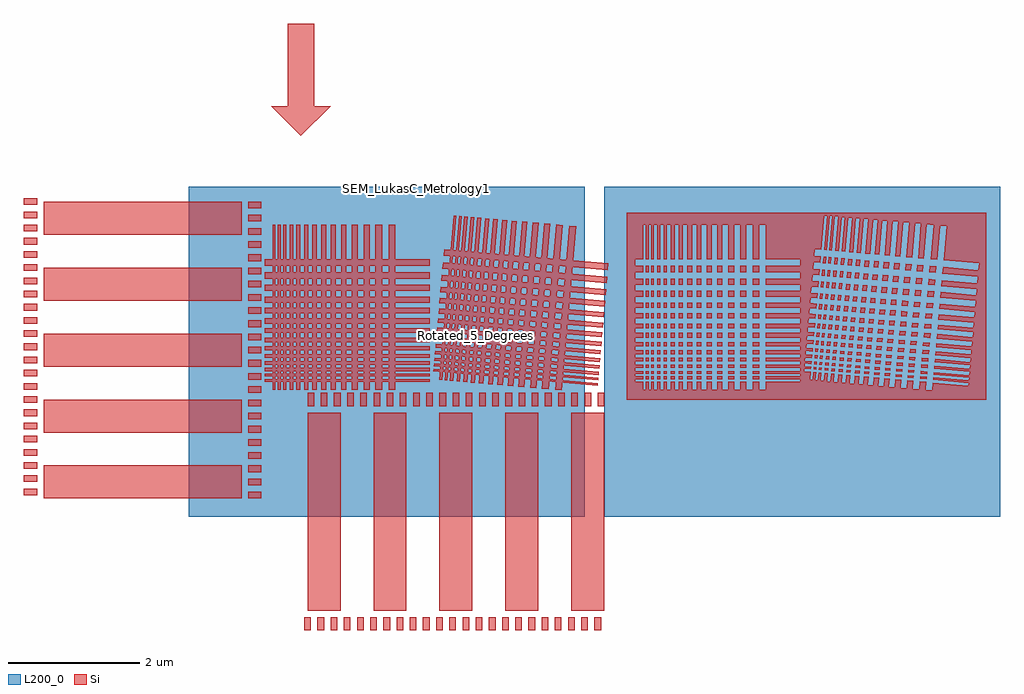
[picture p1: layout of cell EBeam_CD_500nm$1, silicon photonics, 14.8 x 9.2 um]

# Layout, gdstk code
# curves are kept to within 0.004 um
from math import pi, radians
import gdstk
lib = gdstk.Library(unit=1e-6, precision=1e-09)
def R(c, l, rs):  # rectangles x0, y0, x1, y1
    for r in rs: c.add(gdstk.rectangle(r[:2], r[2:], *l))
def P(c, l, *ps):  # polygons
    for p in ps: c.add(gdstk.Polygon(p, *l))
Si = (1, 0)
L200_0 = (200, 0)

ruler_1 = lib.new_cell('ruler$1')
R(ruler_1, Si, [(0,0,0.2,0.1)])

wg_500nm_1 = lib.new_cell('WG_500nm$1')
R(wg_500nm_1, Si, [(0,0,3,0.5)])

cd_500nm_1 = lib.new_cell('CD_500nm$1')
r = gdstk.Reference(ruler_1, (3.4,0)); r.repetition = gdstk.Repetition(1, 23, v1=(0,0), v2=(0,0.2)); cd_500nm_1.add(r)
r = gdstk.Reference(ruler_1, (0,0.05)); r.repetition = gdstk.Repetition(1, 23, v1=(0,0), v2=(0,0.2)); cd_500nm_1.add(r)
r = gdstk.Reference(wg_500nm_1, (0.3,0)); r.repetition = gdstk.Repetition(1, 5, v1=(0,0), v2=(0,1)); cd_500nm_1.add(r)

lines_50nm_80nm_1 = lib.new_cell('lines_50nm_80nm$1')
R(lines_50nm_80nm_1, Si, [(0,0,0.04,2.5), (0.08,0,0.12,2.5), (0.16,0,0.21,2.5), (0.26,0,0.31,2.5), (0.36,0,0.42,2.5), (0.48,0,0.54,2.5), (0.6,0,0.67,2.5), (0.74,0,0.81,2.5), (0.88,0,0.96,2.5), (1.04,0,1.12,2.5), (1.2,0,1.29,2.5), (1.38,0,1.47,2.5), (1.56,0,1.66,2.5), (1.76,0,1.86,2.5)])

arrow_1 = lib.new_cell('arrow$1')
P(arrow_1, Si, [(-0.4,-0.5),(-0.85,-0.05),(-0.4,0.4),(-0.4,0.15),(0.85,0.15),(0.85,-0.25),(-0.4,-0.25)])

ebeam_cd_500nm_1 = lib.new_cell('EBeam_CD_500nm$1')
R(ebeam_cd_500nm_1, Si, [(9.13,1.81,9.17,1.85), (9.21,1.81,9.25,1.85), (9.3,1.81,9.35,1.85), (9.4,1.81,9.45,1.85), (9.51,1.81,9.57,1.85), (9.63,1.81,9.69,1.85), (9.76,1.81,9.83,1.85), (9.9,1.81,9.97,1.85), (10.05,1.81,10.13,1.85), (10.21,1.81,10.29,1.85), (10.38,1.81,10.47,1.85), (10.56,1.81,10.65,1.85), (10.75,1.81,10.85,1.85), (9.13,1.89,9.17,1.93), (9.21,1.89,9.25,1.93), (9.3,1.89,9.35,1.93), (9.4,1.89,9.45,1.93), (9.51,1.89,9.57,1.93), (9.63,1.89,9.69,1.93), (9.76,1.89,9.83,1.93), (9.9,1.89,9.97,1.93), (10.05,1.89,10.13,1.93), (10.21,1.89,10.29,1.93), (10.38,1.89,10.47,1.93), (10.56,1.89,10.65,1.93), (10.75,1.89,10.85,1.93), (9.13,1.98,9.17,2.03), (9.21,1.98,9.25,2.03), (9.3,1.98,9.35,2.03), (9.4,1.98,9.45,2.03), (9.51,1.98,9.57,2.03), (9.63,1.98,9.69,2.03), (9.76,1.98,9.83,2.03), (9.9,1.98,9.97,2.03), (10.05,1.98,10.13,2.03), (10.21,1.98,10.29,2.03), (10.38,1.98,10.47,2.03), (10.56,1.98,10.65,2.03), (10.75,1.98,10.85,2.03), (9.13,2.08,9.17,2.13), (9.21,2.08,9.25,2.13), (9.3,2.08,9.35,2.13), (9.4,2.08,9.45,2.13), (9.51,2.08,9.57,2.13), (9.63,2.08,9.69,2.13), (9.76,2.08,9.83,2.13), (9.9,2.08,9.97,2.13), (10.05,2.08,10.13,2.13), (10.21,2.08,10.29,2.13), (10.38,2.08,10.47,2.13), (10.56,2.08,10.65,2.13), (10.75,2.08,10.85,2.13), (9.13,2.19,9.17,2.25), (9.21,2.19,9.25,2.25), (9.3,2.19,9.35,2.25), (9.4,2.19,9.45,2.25), (9.51,2.19,9.57,2.25), (9.63,2.19,9.69,2.25), (9.76,2.19,9.83,2.25), (9.9,2.19,9.97,2.25), (10.05,2.19,10.13,2.25), (10.21,2.19,10.29,2.25), (10.38,2.19,10.47,2.25), (10.56,2.19,10.65,2.25), (10.75,2.19,10.85,2.25), (9.13,2.31,9.17,2.37), (9.21,2.31,9.25,2.37), (9.3,2.31,9.35,2.37), (9.4,2.31,9.45,2.37), (9.51,2.31,9.57,2.37), (9.63,2.31,9.69,2.37), (9.76,2.31,9.83,2.37), (9.9,2.31,9.97,2.37), (10.05,2.31,10.13,2.37), (10.21,2.31,10.29,2.37), (10.38,2.31,10.47,2.37), (10.56,2.31,10.65,2.37), (10.75,2.31,10.85,2.37), (9.13,2.44,9.17,2.51), (9.21,2.44,9.25,2.51), (9.3,2.44,9.35,2.51), (9.4,2.44,9.45,2.51), (9.51,2.44,9.57,2.51), (9.63,2.44,9.69,2.51), (9.76,2.44,9.83,2.51), (9.9,2.44,9.97,2.51), (10.05,2.44,10.13,2.51), (10.21,2.44,10.29,2.51), (10.38,2.44,10.47,2.51), (10.56,2.44,10.65,2.51), (10.75,2.44,10.85,2.51), (9.13,2.58,9.17,2.65), (9.21,2.58,9.25,2.65), (9.3,2.58,9.35,2.65), (9.4,2.58,9.45,2.65), (9.51,2.58,9.57,2.65), (9.63,2.58,9.69,2.65), (9.76,2.58,9.83,2.65), (9.9,2.58,9.97,2.65), (10.05,2.58,10.13,2.65), (10.21,2.58,10.29,2.65), (10.38,2.58,10.47,2.65), (10.56,2.58,10.65,2.65), (10.75,2.58,10.85,2.65), (9.13,2.73,9.17,2.81), (9.21,2.73,9.25,2.81), (9.3,2.73,9.35,2.81), (9.4,2.73,9.45,2.81), (9.51,2.73,9.57,2.81), (9.63,2.73,9.69,2.81), (9.76,2.73,9.83,2.81), (9.9,2.73,9.97,2.81), (10.05,2.73,10.13,2.81), (10.21,2.73,10.29,2.81), (10.38,2.73,10.47,2.81), (10.56,2.73,10.65,2.81), (10.75,2.73,10.85,2.81), (9.13,2.89,9.17,2.97), (9.21,2.89,9.25,2.97), (9.3,2.89,9.35,2.97), (9.4,2.89,9.45,2.97), (9.51,2.89,9.57,2.97), (9.63,2.89,9.69,2.97), (9.76,2.89,9.83,2.97), (9.9,2.89,9.97,2.97), (10.05,2.89,10.13,2.97), (10.21,2.89,10.29,2.97), (10.38,2.89,10.47,2.97), (10.56,2.89,10.65,2.97), (10.75,2.89,10.85,2.97), (9.13,3.06,9.17,3.15), (9.21,3.06,9.25,3.15), (9.3,3.06,9.35,3.15), (9.4,3.06,9.45,3.15), (9.51,3.06,9.57,3.15), (9.63,3.06,9.69,3.15), (9.76,3.06,9.83,3.15), (9.9,3.06,9.97,3.15), (10.05,3.06,10.13,3.15), (10.21,3.06,10.29,3.15), (10.38,3.06,10.47,3.15), (10.56,3.06,10.65,3.15), (10.75,3.06,10.85,3.15), (9.13,3.24,9.17,3.33), (9.21,3.24,9.25,3.33), (9.3,3.24,9.35,3.33), (9.4,3.24,9.45,3.33), (9.51,3.24,9.57,3.33), (9.63,3.24,9.69,3.33), (9.76,3.24,9.83,3.33), (9.9,3.24,9.97,3.33), (10.05,3.24,10.13,3.33), (10.21,3.24,10.29,3.33), (10.38,3.24,10.47,3.33), (10.56,3.24,10.65,3.33), (10.75,3.24,10.85,3.33), (9.13,3.43,9.17,3.53), (9.21,3.43,9.25,3.53), (9.3,3.43,9.35,3.53), (9.4,3.43,9.45,3.53), (9.51,3.43,9.57,3.53), (9.63,3.43,9.69,3.53), (9.76,3.43,9.83,3.53), (9.9,3.43,9.97,3.53), (10.05,3.43,10.13,3.53), (10.21,3.43,10.29,3.53), (10.38,3.43,10.47,3.53), (10.56,3.43,10.65,3.53), (10.75,3.43,10.85,3.53)])
P(ebeam_cd_500nm_1, Si, [(13.203,1.992),(13.113,2),(13.117,2.05),(13.207,2.042)],
  [(13.024,2.008),(12.934,2.016),(12.938,2.066),(13.028,2.058)],
  [(13.41,2.075),(13.311,2.083),(13.316,2.133),(13.415,2.125)],
  [(13.221,2.201),(13.131,2.209),(13.136,2.269),(13.226,2.261)],
  [(13.042,2.217),(12.952,2.225),(12.957,2.285),(13.047,2.277)],
  [(13.232,2.321),(13.142,2.329),(13.147,2.389),(13.237,2.381)],
  [(11.917,2.206),(11.866,2.21),(11.871,2.26),(11.921,2.255)],
  [(12.404,2.273),(12.334,2.279),(12.339,2.339),(12.409,2.333)],
  [(12.134,3.542),(12.084,3.546),(12.093,3.645),(12.143,3.641)],
  [(11.973,2.852),(11.923,2.857),(11.93,2.937),(11.98,2.932)],
  [(11.86,2.712),(11.821,2.716),(11.827,2.786),(11.866,2.782)],
  [(11.848,2.572),(11.808,2.576),(11.815,2.646),(11.854,2.642)],
  [(12.48,3.14),(12.41,3.146),(12.418,3.236),(12.488,3.23)],
  [(12.341,3.152),(12.281,3.157),(12.289,3.247),(12.349,3.242)],
  [(12.862,2.233),(12.783,2.239),(12.788,2.299),(12.867,2.293)],
  [(12.873,2.353),(12.794,2.359),(12.799,2.419),(12.878,2.413)],
  [(12.034,3.55),(11.984,3.555),(11.993,3.654),(12.043,3.649)],
  [(12.512,3.509),(12.442,3.515),(12.451,3.614),(12.521,3.608)],
  [(12.923,2.931),(12.844,2.937),(12.851,3.016),(12.93,3.01)],
  [(12.685,2.037),(12.605,2.044),(12.609,2.094),(12.689,2.087)],
  [(12.087,3.004),(12.037,3.008),(12.044,3.087),(12.094,3.083)],
  [(12.62,3.127),(12.55,3.134),(12.558,3.224),(12.628,3.217)],
  [(13.496,3.051),(13.397,3.059),(13.405,3.149),(13.504,3.141)],
  [(13.512,3.23),(13.413,3.238),(13.42,3.328),(13.519,3.32)],
  [(12.725,2.495),(12.645,2.502),(12.651,2.572),(12.731,2.565)],
  [(12.737,2.635),(12.657,2.642),(12.663,2.712),(12.743,2.705)],
  [(12.795,3.292),(12.715,3.299),(12.722,3.389),(12.802,3.382)],
  [(11.948,2.563),(11.898,2.568),(11.904,2.638),(11.954,2.633)],
  [(11.96,2.703),(11.91,2.708),(11.916,2.778),(11.966,2.773)],
  [(12.853,2.124),(12.773,2.13),(12.778,2.18),(12.857,2.174)],
  [(12.135,2.186),(12.076,2.192),(12.08,2.242),(12.14,2.236)],
  [(12.167,2.544),(12.107,2.55),(12.113,2.62),(12.173,2.614)],
  [(12.179,2.684),(12.119,2.69),(12.125,2.76),(12.185,2.754)],
  [(12.206,2.993),(12.146,2.999),(12.153,3.078),(12.213,3.072)],
  [(11.934,3.559),(11.894,3.563),(11.903,3.662),(11.943,3.658)],
  [(11.855,3.566),(11.815,3.57),(11.824,3.669),(11.864,3.665)],
  [(11.987,3.012),(11.937,3.017),(11.944,3.096),(11.994,3.091)],
  [(11.729,2.121),(11.689,2.125),(11.693,2.175),(11.733,2.171)],
  [(12.496,3.319),(12.426,3.325),(12.433,3.415),(12.503,3.409)],
  [(12.636,3.306),(12.566,3.313),(12.573,3.402),(12.643,3.396)],
  [(12.253,3.531),(12.193,3.537),(12.202,3.636),(12.262,3.63)],
  [(12.221,3.162),(12.161,3.168),(12.169,3.258),(12.229,3.252)],
  [(13.528,3.42),(13.429,3.428),(13.438,3.527),(13.537,3.519)],
  [(11.918,3.369),(11.878,3.373),(11.886,3.463),(11.925,3.459)],
  [(8.84,1.5),(8.84,4.15),(10.85,4.15),(10.85,3.63),(10.75,3.63),(10.75,4.15),(10.65,4.15),(10.65,3.63),(10.56,3.63),(10.56,4.15),(10.47,4.15),(10.47,3.63),(10.38,3.63),(10.38,4.15),(10.29,4.15),(10.29,3.63),(10.21,3.63),(10.21,4.15),(10.13,4.15),(10.13,3.63),(10.05,3.63),(10.05,4.15),(9.97,4.15),(9.97,3.63),(9.9,3.63),(9.9,4.15),(9.83,4.15),(9.83,3.63),(9.76,3.63),(9.76,4.15),(9.69,4.15),(9.69,3.63),(9.63,3.63),(9.63,4.15),(9.57,4.15),(9.57,3.63),(9.51,3.63),(9.51,4.15),(9.45,4.15),(9.45,3.63),(9.4,3.63),(9.4,4.15),(9.35,4.15),(9.35,3.63),(9.3,3.63),(9.3,4.15),(9.25,4.15),(9.25,3.63),(9.21,3.63),(9.21,4.15),(9.17,4.15),(9.17,3.63),(9.13,3.63),(9.13,4.15),(9.09,4.15),(9.09,3.63),(8.97,3.63),(8.97,3.53),(9.09,3.53),(9.09,3.43),(8.97,3.43),(8.97,3.33),(9.09,3.33),(9.09,3.24),(8.97,3.24),(8.97,3.15),(9.09,3.15),(9.09,3.06),(8.97,3.06),(8.97,2.97),(9.09,2.97),(9.09,2.89),(8.97,2.89),(8.97,2.81),(9.09,2.81),(9.09,2.73),(8.97,2.73),(8.97,2.65),(9.09,2.65),(9.09,2.58),(8.97,2.58),(8.97,2.51),(9.09,2.51),(9.09,2.44),(8.97,2.44),(8.97,2.37),(9.09,2.37),(9.09,2.31),(8.97,2.31),(8.97,2.25),(9.09,2.25),(9.09,2.19),(8.97,2.19),(8.97,2.13),(9.09,2.13),(9.09,2.08),(8.97,2.08),(8.97,2.03),(9.09,2.03),(9.09,1.98),(8.97,1.98),(8.97,1.93),(9.09,1.93),(9.09,1.89),(8.97,1.89),(8.97,1.85),(9.09,1.85),(9.09,1.81),(8.97,1.81),(8.97,1.77),(9.09,1.77),(9.09,1.65),(9.13,1.65),(9.13,1.77),(9.17,1.77),(9.17,1.65),(9.21,1.65),(9.21,1.77),(9.25,1.77),(9.25,1.65),(9.3,1.65),(9.3,1.77),(9.35,1.77),(9.35,1.65),(9.4,1.65),(9.4,1.77),(9.45,1.77),(9.45,1.65),(9.51,1.65),(9.51,1.77),(9.57,1.77),(9.57,1.65),(9.63,1.65),(9.63,1.77),(9.69,1.77),(9.69,1.65),(9.76,1.65),(9.76,1.77),(9.83,1.77),(9.83,1.65),(9.9,1.65),(9.9,1.77),(9.97,1.77),(9.97,1.65),(10.05,1.65),(10.05,1.77),(10.13,1.77),(10.13,1.65),(10.21,1.65),(10.21,1.77),(10.29,1.77),(10.29,1.65),(10.38,1.65),(10.38,1.77),(10.47,1.77),(10.47,1.65),(10.56,1.65),(10.56,1.77),(10.65,1.77),(10.65,1.65),(10.75,1.65),(10.75,1.77),(10.85,1.77),(10.85,1.65),(10.95,1.65),(10.95,1.77),(11.47,1.77),(11.47,1.81),(10.95,1.81),(10.95,1.85),(11.47,1.85),(11.47,1.89),(10.95,1.89),(10.95,1.93),(11.47,1.93),(11.47,1.98),(10.95,1.98),(10.95,2.03),(11.47,2.03),(11.47,2.08),(10.95,2.08),(10.95,2.13),(11.47,2.13),(11.47,2.19),(10.95,2.19),(10.95,2.25),(11.47,2.25),(11.47,2.31),(10.95,2.31),(10.95,2.37),(11.47,2.37),(11.47,2.44),(10.95,2.44),(10.95,2.51),(11.47,2.51),(11.47,2.58),(10.95,2.58),(10.95,2.65),(11.47,2.65),(11.47,2.73),(10.95,2.73),(10.95,2.81),(11.47,2.81),(11.47,2.89),(10.95,2.89),(10.95,2.97),(11.47,2.97),(11.47,3.06),(10.95,3.06),(10.95,3.15),(11.47,3.15),(11.47,3.24),(10.95,3.24),(10.95,3.33),(11.47,3.33),(11.47,3.43),(10.95,3.43),(10.95,3.53),(11.47,3.53),(11.47,3.63),(10.95,3.63),(10.95,4.15),(8.84,4.15),(8.84,4.29),(11.838,4.29),(11.793,3.772),(11.692,3.781),(11.683,3.681),(11.784,3.672),(11.775,3.573),(11.674,3.582),(11.665,3.482),(11.766,3.473),(11.759,3.383),(11.658,3.392),(11.65,3.303),(11.751,3.294),(11.743,3.204),(11.642,3.213),(11.634,3.123),(11.735,3.114),(11.728,3.035),(11.627,3.044),(11.62,2.964),(11.721,2.955),(11.714,2.875),(11.613,2.884),(11.606,2.805),(11.707,2.796),(11.701,2.726),(11.6,2.735),(11.594,2.665),(11.695,2.656),(11.689,2.586),(11.588,2.595),(11.582,2.526),(11.683,2.517),(11.678,2.457),(11.577,2.466),(11.571,2.406),(11.672,2.397),(11.667,2.337),(11.566,2.346),(11.561,2.287),(11.662,2.278),(11.657,2.228),(11.557,2.237),(11.552,2.187),(11.653,2.178),(11.649,2.128),(11.548,2.137),(11.543,2.087),(11.644,2.078),(11.641,2.038),(11.54,2.047),(11.536,2.008),(11.637,1.999),(11.634,1.959),(11.533,1.968),(11.53,1.928),(11.63,1.919),(11.62,1.8),(11.66,1.797),(11.67,1.916),(11.71,1.912),(11.7,1.793),(11.74,1.79),(11.75,1.909),(11.789,1.905),(11.779,1.786),(11.829,1.782),(11.839,1.901),(11.889,1.897),(11.879,1.777),(11.929,1.773),(11.939,1.892),(11.989,1.888),(11.979,1.769),(12.038,1.763),(12.048,1.883),(12.108,1.877),(12.098,1.758),(12.158,1.753),(12.168,1.872),(12.228,1.867),(12.218,1.748),(12.287,1.742),(12.297,1.861),(12.367,1.855),(12.357,1.736),(12.427,1.729),(12.437,1.849),(12.507,1.842),(12.497,1.723),(12.576,1.716),(12.586,1.836),(12.666,1.829),(12.656,1.709),(12.736,1.702),(12.746,1.821),(12.825,1.815),(12.815,1.695),(12.905,1.688),(12.915,1.807),(13.005,1.799),(12.995,1.68),(13.084,1.672),(13.094,1.791),(13.184,1.783),(13.174,1.664),(13.274,1.655),(13.284,1.774),(13.383,1.766),(13.373,1.647),(13.473,1.638),(13.483,1.757),(14.02,1.71),(14.023,1.75),(13.487,1.797),(13.49,1.837),(14.027,1.79),(14.03,1.83),(13.494,1.877),(13.497,1.916),(14.034,1.869),(14.038,1.919),(13.502,1.966),(13.506,2.016),(14.043,1.969),(14.047,2.019),(13.51,2.066),(13.515,2.116),(14.051,2.069),(14.057,2.128),(13.52,2.175),(13.525,2.235),(14.062,2.188),(14.067,2.248),(13.531,2.295),(13.536,2.355),(14.072,2.308),(14.078,2.377),(13.542,2.424),(13.548,2.494),(14.084,2.447),(14.091,2.517),(13.554,2.564),(13.56,2.634),(14.097,2.587),(14.104,2.666),(13.567,2.713),(13.574,2.793),(14.111,2.746),(14.118,2.826),(13.581,2.873),(13.588,2.952),(14.125,2.905),(14.132,2.995),(13.596,3.042),(13.604,3.132),(14.14,3.085),(14.148,3.174),(13.612,3.221),(13.619,3.311),(14.156,3.264),(14.165,3.364),(13.628,3.411),(13.637,3.51),(14.173,3.463),(14.182,3.563),(13.646,3.61),(13.691,4.128),(13.591,4.137),(13.546,3.619),(13.447,3.627),(13.492,4.146),(13.392,4.155),(13.347,3.636),(13.257,3.644),(13.302,4.162),(13.213,4.17),(13.168,3.652),(13.078,3.66),(13.123,4.178),(13.033,4.186),(12.988,3.668),(12.909,3.674),(12.954,4.193),(12.874,4.2),(12.829,3.681),(12.749,3.688),(12.794,4.207),(12.715,4.214),(12.67,3.695),(12.6,3.702),(12.645,4.22),(12.575,4.226),(12.53,3.708),(12.46,3.714),(12.505,4.232),(12.436,4.238),(12.391,3.72),(12.331,3.725),(12.376,4.243),(12.316,4.249),(12.271,3.73),(12.211,3.736),(12.256,4.254),(12.197,4.259),(12.152,3.741),(12.102,3.745),(12.147,4.263),(12.097,4.268),(12.052,3.75),(12.002,3.754),(12.047,4.272),(11.997,4.277),(11.952,3.758),(11.912,3.762),(11.957,4.28),(11.918,4.284),(11.873,3.765),(11.833,3.769),(11.878,4.287),(8.84,4.29),(8.84,4.33),(14.29,4.33),(14.29,1.5)],
  [(12.192,2.833),(12.132,2.839),(12.139,2.919),(12.199,2.913)],
  [(12.465,2.971),(12.395,2.977),(12.402,3.056),(12.472,3.05)],
  [(13.481,2.882),(13.382,2.89),(13.389,2.969),(13.488,2.961)],
  [(12.938,3.1),(12.859,3.106),(12.867,3.196),(12.946,3.19)],
  [(12.652,3.496),(12.582,3.503),(12.591,3.602),(12.661,3.595)],
  [(13.42,2.184),(13.321,2.192),(13.326,2.252),(13.425,2.244)],
  [(12.118,3.352),(12.068,3.356),(12.075,3.446),(12.125,3.442)],
  [(12.073,2.844),(12.023,2.848),(12.03,2.928),(12.08,2.924)],
  [(11.793,1.945),(11.754,1.949),(11.757,1.989),(11.796,1.985)],
  [(11.8,2.024),(11.761,2.028),(11.764,2.068),(11.803,2.064)],
  [(12.247,2.076),(12.187,2.081),(12.191,2.131),(12.251,2.126)],
  [(12.97,3.469),(12.891,3.475),(12.9,3.574),(12.979,3.568)],
  [(12.394,2.164),(12.324,2.17),(12.329,2.22),(12.399,2.214)],
  [(12.237,3.341),(12.177,3.347),(12.184,3.437),(12.244,3.431)],
  [(12.764,2.944),(12.684,2.951),(12.691,3.03),(12.771,3.023)],
  [(13.329,3.437),(13.239,3.445),(13.248,3.544),(13.338,3.536)],
  [(13.15,3.453),(13.06,3.461),(13.069,3.56),(13.159,3.552)],
  [(12.566,2.509),(12.496,2.516),(12.502,2.586),(12.572,2.579)],
  [(12.578,2.649),(12.508,2.656),(12.514,2.726),(12.584,2.719)],
  [(12.694,2.137),(12.614,2.145),(12.618,2.194),(12.698,2.187)],
  [(12.605,2.958),(12.535,2.965),(12.542,3.044),(12.612,3.037)],
  [(11.794,2.868),(11.754,2.872),(11.761,2.952),(11.801,2.948)],
  [(11.839,3.376),(11.799,3.38),(11.806,3.47),(11.846,3.466)],
  [(12.534,2.151),(12.465,2.158),(12.469,2.208),(12.539,2.201)],
  [(12.779,3.113),(12.699,3.12),(12.707,3.21),(12.787,3.203)],
  [(12.255,2.176),(12.195,2.181),(12.2,2.231),(12.26,2.226)],
  [(12.544,2.26),(12.474,2.267),(12.479,2.327),(12.549,2.32)],
  [(12.555,2.38),(12.485,2.387),(12.49,2.447),(12.56,2.44)],
  [(12.591,2.798),(12.521,2.805),(12.528,2.885),(12.598,2.878)],
  [(11.873,2.861),(11.834,2.865),(11.841,2.945),(11.88,2.941)],
  [(12.811,3.482),(12.731,3.489),(12.74,3.588),(12.82,3.581)],
  [(12.357,3.331),(12.297,3.336),(12.304,3.426),(12.364,3.421)],
  [(11.816,2.214),(11.777,2.218),(11.782,2.268),(11.821,2.264)],
  [(12.312,2.823),(12.252,2.828),(12.259,2.908),(12.319,2.903)],
  [(13.442,2.433),(13.343,2.441),(13.349,2.511),(13.448,2.503)],
  [(13.454,2.573),(13.355,2.581),(13.361,2.651),(13.46,2.643)],
  [(11.9,2.016),(11.85,2.02),(11.853,2.06),(11.903,2.055)],
  [(13.313,3.247),(13.223,3.255),(13.23,3.345),(13.32,3.337)],
  [(13.134,3.263),(13.044,3.271),(13.051,3.361),(13.141,3.353)],
  [(13.467,2.722),(13.368,2.73),(13.375,2.81),(13.474,2.802)],
  [(13.053,2.337),(12.962,2.345),(12.968,2.405),(13.058,2.397)],
  [(12.119,1.997),(12.059,2.002),(12.062,2.042),(12.122,2.036)],
  [(11.808,2.114),(11.769,2.118),(11.773,2.168),(11.812,2.164)],
  [(12.373,3.521),(12.313,3.526),(12.322,3.625),(12.382,3.62)],
  [(13.268,2.739),(13.178,2.747),(13.185,2.827),(13.275,2.819)],
  [(13.089,2.755),(12.999,2.763),(13.006,2.843),(13.096,2.835)],
  [(12.909,2.771),(12.83,2.777),(12.837,2.857),(12.916,2.851)],
  [(11.826,2.323),(11.787,2.327),(11.792,2.387),(11.831,2.383)],
  [(11.993,1.928),(11.943,1.932),(11.946,1.972),(11.996,1.968)],
  [(12,2.007),(11.95,2.011),(11.953,2.051),(12.003,2.047)],
  [(11.737,2.221),(11.697,2.225),(11.702,2.275),(11.742,2.271)],
  [(12.145,2.295),(12.085,2.301),(12.09,2.361),(12.15,2.355)],
  [(12.156,2.415),(12.096,2.421),(12.101,2.481),(12.161,2.475)],
  [(12.018,3.361),(11.968,3.365),(11.975,3.455),(12.025,3.45)],
  [(12.451,2.811),(12.381,2.817),(12.388,2.897),(12.458,2.891)],
  [(12.836,1.934),(12.757,1.941),(12.76,1.98),(12.839,1.974)],
  [(12.829,1.855),(12.75,1.861),(12.753,1.901),(12.832,1.895)],
  [(12.703,2.246),(12.623,2.253),(12.628,2.313),(12.708,2.306)],
  [(12.714,2.366),(12.634,2.373),(12.639,2.433),(12.719,2.426)],
  [(12.884,2.482),(12.805,2.488),(12.811,2.558),(12.89,2.552)],
  [(12.896,2.622),(12.817,2.628),(12.823,2.698),(12.902,2.692)],
  [(11.714,1.952),(11.674,1.956),(11.677,1.996),(11.717,1.992)],
  [(11.721,2.031),(11.681,2.035),(11.684,2.075),(11.724,2.071)],
  [(12.75,2.784),(12.67,2.791),(12.677,2.871),(12.757,2.864)],
  [(12.954,3.279),(12.875,3.285),(12.882,3.375),(12.961,3.369)],
  [(12.048,2.555),(11.998,2.559),(12.004,2.629),(12.054,2.625)],
  [(12.06,2.695),(12.01,2.699),(12.016,2.769),(12.066,2.765)],
  [(11.758,2.45),(11.717,2.454),(11.723,2.514),(11.763,2.51)],
  [(12.844,2.024),(12.765,2.03),(12.769,2.08),(12.848,2.074)],
  [(11.926,2.314),(11.876,2.319),(11.881,2.379),(11.931,2.374)],
  [(13.43,2.304),(13.332,2.312),(13.337,2.372),(13.436,2.364)],
  [(13.243,2.45),(13.153,2.458),(13.159,2.528),(13.249,2.52)],
  [(13.064,2.466),(12.974,2.474),(12.98,2.544),(13.07,2.536)],
  [(13.255,2.59),(13.165,2.598),(13.171,2.668),(13.261,2.66)],
  [(13.076,2.606),(12.986,2.614),(12.992,2.684),(13.082,2.676)],
  [(12.426,2.522),(12.356,2.528),(12.362,2.598),(12.432,2.592)],
  [(12.438,2.662),(12.368,2.668),(12.374,2.738),(12.444,2.732)],
  [(11.887,3.021),(11.848,3.025),(11.854,3.104),(11.894,3.1)],
  [(11.808,3.028),(11.768,3.032),(11.775,3.111),(11.815,3.107)],
  [(13.297,3.068),(13.207,3.076),(13.215,3.166),(13.305,3.158)],
  [(13.118,3.084),(13.028,3.092),(13.036,3.182),(13.126,3.174)],
  [(11.769,2.579),(11.729,2.583),(11.735,2.653),(11.775,2.649)],
  [(11.781,2.719),(11.741,2.723),(11.747,2.793),(11.787,2.789)],
  [(12.102,3.173),(12.052,3.177),(12.06,3.267),(12.11,3.263)],
  [(12.002,3.181),(11.952,3.186),(11.96,3.276),(12.01,3.272)],
  [(12.008,2.097),(11.958,2.101),(11.962,2.151),(12.012,2.147)],
  [(12.265,2.285),(12.205,2.29),(12.21,2.35),(12.27,2.345)],
  [(12.276,2.405),(12.216,2.41),(12.221,2.47),(12.281,2.465)],
  [(12.026,2.306),(11.976,2.31),(11.981,2.37),(12.031,2.366)],
  [(12.037,2.426),(11.987,2.43),(11.992,2.49),(12.042,2.486)],
  [(11.937,2.435),(11.887,2.439),(11.892,2.499),(11.942,2.495)],
  [(11.747,2.33),(11.707,2.334),(11.712,2.394),(11.752,2.39)],
  [(11.837,2.443),(11.797,2.447),(11.802,2.507),(11.842,2.503)],
  [(13.211,2.092),(13.121,2.1),(13.126,2.15),(13.216,2.142)],
  [(13.032,2.108),(12.942,2.116),(12.947,2.166),(13.037,2.158)],
  [(12.414,2.393),(12.345,2.399),(12.35,2.459),(12.42,2.453)],
  [(11.908,2.106),(11.858,2.11),(11.862,2.16),(11.912,2.155)],
  [(12.326,2.983),(12.266,2.988),(12.273,3.067),(12.333,3.062)],
  [(12.67,1.868),(12.59,1.875),(12.593,1.915),(12.673,1.908)],
  [(12.518,1.962),(12.448,1.968),(12.451,2.008),(12.521,2.001)],
  [(11.893,1.936),(11.843,1.941),(11.846,1.981),(11.896,1.976)],
  [(12.232,1.907),(12.172,1.912),(12.175,1.952),(12.235,1.947)],
  [(12.239,1.986),(12.179,1.991),(12.182,2.031),(12.242,2.026)],
  [(11.902,3.19),(11.862,3.194),(11.87,3.284),(11.91,3.28)],
  [(11.823,3.197),(11.783,3.201),(11.791,3.291),(11.831,3.287)],
  [(12.127,2.086),(12.067,2.092),(12.071,2.142),(12.131,2.136)],
  [(12.371,1.895),(12.301,1.901),(12.304,1.941),(12.374,1.935)],
  [(12.378,1.974),(12.308,1.98),(12.311,2.02),(12.381,2.014)],
  [(12.511,1.882),(12.441,1.889),(12.444,1.928),(12.514,1.922)],
  [(12.287,2.534),(12.227,2.539),(12.233,2.609),(12.293,2.604)],
  [(12.299,2.674),(12.239,2.679),(12.245,2.749),(12.305,2.744)],
  [(12.386,2.064),(12.316,2.07),(12.32,2.12),(12.39,2.114)],
  [(12.677,1.948),(12.597,1.955),(12.6,1.994),(12.68,1.987)],
  [(12.526,2.051),(12.456,2.058),(12.46,2.108),(12.53,2.101)],
  [(12.016,2.197),(11.966,2.201),(11.971,2.251),(12.021,2.247)],
  [(12.112,1.917),(12.052,1.923),(12.055,1.963),(12.115,1.957)],
  [(13.195,1.903),(13.105,1.911),(13.108,1.95),(13.198,1.942)],
  [(13.394,1.885),(13.295,1.894),(13.298,1.933),(13.397,1.925)],
  [(13.282,2.899),(13.192,2.907),(13.199,2.986),(13.289,2.978)],
  [(13.103,2.915),(13.013,2.923),(13.02,3.002),(13.11,2.994)],
  [(13.188,1.823),(13.098,1.831),(13.101,1.871),(13.191,1.863)],
  [(13.009,1.839),(12.919,1.847),(12.922,1.887),(13.012,1.879)],
  [(13.016,1.918),(12.926,1.926),(12.929,1.966),(13.019,1.958)],
  [(13.387,1.806),(13.288,1.814),(13.291,1.854),(13.39,1.846)],
  [(13.402,1.975),(13.303,1.983),(13.307,2.033),(13.406,2.025)])
R(ebeam_cd_500nm_1, L200_0, [(2.2,-0.275,8.2,4.725), (8.5,-0.275,14.5,4.725)])
ebeam_cd_500nm_1.add(gdstk.Reference(cd_500nm_1, (-0.3,0)))
ebeam_cd_500nm_1.add(gdstk.Reference(lines_50nm_80nm_1, (8.4,1.71), rotation=radians(85)))
ebeam_cd_500nm_1.add(gdstk.Reference(arrow_1, (3.95,6.35), rotation=pi/2, x_reflection=True))
ebeam_cd_500nm_1.add(gdstk.Reference(lines_50nm_80nm_1, (3.47,1.65)))
ebeam_cd_500nm_1.add(gdstk.Reference(lines_50nm_80nm_1, (6,1.8), rotation=radians(355)))
ebeam_cd_500nm_1.add(gdstk.Reference(lines_50nm_80nm_1, (5.85,1.77), rotation=pi/2))
ebeam_cd_500nm_1.add(gdstk.Reference(cd_500nm_1, (8.5,-2), rotation=pi/2))
ebeam_cd_500nm_1.add(gdstk.Label('Rotated_5_Degrees', (6.55,2.472), layer=1, texttype=0))
ebeam_cd_500nm_1.add(gdstk.Label('SEM_LukasC_Metrology1', (5.65,4.7), layer=200, texttype=0))

lib.write_gds('EBeam_CD_500nm_1.gds')
